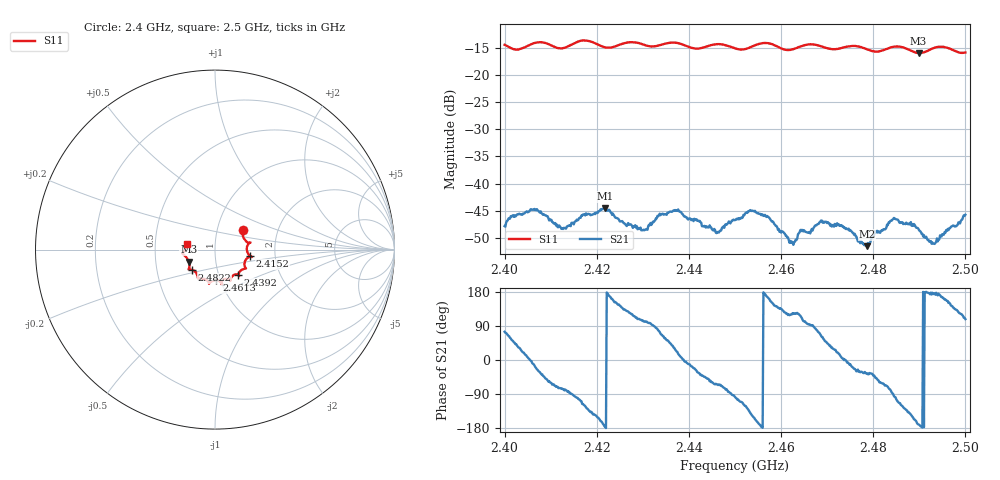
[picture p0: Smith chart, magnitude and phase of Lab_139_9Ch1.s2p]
# Hz S RI R 50
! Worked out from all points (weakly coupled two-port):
!   601 points, 2.4 GHz to 2.5 GHz, reference 50 ohm
!   highest |S21| = -44.60 dB at 2.4218 GHz (marker M1); lowest = -51.6 dB at 2.4787 GHz (marker M2)
!   lowest |S11| = -15.9 dB at 2.4898 GHz (marker M3), VSWR 1.38, Z = 37 - j5.06 ohm
!   |S11| at or under -10 dB: start of sweep to end of sweep
!   S12 and S22 are empty: the file has one direction only
!   S11 on the Smith chart (normalised r, x): 2.4 GHz: 1.33, +0.31; 2.4152 GHz: 1.48, -0.11; 2.4392 GHz: 1.23, -0.36; 2.4613 GHz: 0.96, -0.34; 2.4822 GHz: 0.76, -0.17; 2.5 GHz: 0.72, +0.05
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2.4e9  0.1558 0.1109  0.00108 0.00391  0 0  0 0
2.406167e9  0.1927 0.0369  0.00566 -0.00103  0 0  0 0
2.4125e9  0.1772 -0.00118  0.000976 -0.00373  0 0  0 0
2.415167e9  0.1948 -0.0354  -0.000409 -0.00439  0 0  0 0
2.416667e9  0.2044 -0.0416  -0.00164 -0.0048  0 0  0 0
2.421833e9  0.1715 -0.057  -0.00588 -0.000321  0 0  0 0
2.430167e9  0.1577 -0.1091  -0.000752 0.00368  0 0  0 0
2.433333e9  0.133 -0.1327  0.00102 0.00489  0 0  0 0
2.439167e9  0.1271 -0.1388  0.00496 -0.000401  0 0  0 0
2.446333e9  0.0852 -0.174  0.00144 -0.00325  0 0  0 0
2.45e9  0.0683 -0.1635  -0.000605 -0.00456  0 0  0 0
2.453833e9  0.0352 -0.1816  -0.00478 -0.00298  0 0  0 0
2.461333e9  0.0079 -0.1708  -0.0017 0.00269  0 0  0 0
2.466667e9  -0.0333 -0.1901  -0.000108 0.00381  0 0  0 0
2.468833e9  -0.035 -0.1808  0.00222 0.00398  0 0  0 0
2.472667e9  -0.073 -0.1604  0.00393 0.00105  0 0  0 0
2.478667e9  -0.0991 -0.1422  0.00216 -0.00152  0 0  0 0
2.482167e9  -0.1281 -0.1122  0.00177 -0.00333  0 0  0 0
2.483333e9  -0.1394 -0.1105  0.0012 -0.00421  0 0  0 0
2.489833e9  -0.1457 -0.0666  -0.00374 -0.000648  0 0  0 0
2.493167e9  -0.1766 -0.027  -0.00277 0.000277  0 0  0 0
2.5e9  -0.1587 0.0335  -0.00159 0.0049  0 0  0 0
